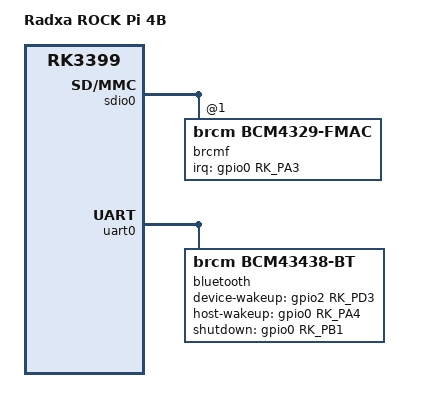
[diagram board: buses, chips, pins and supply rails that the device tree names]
// SPDX-License-Identifier: (GPL-2.0+ OR MIT)
/*
 * Copyright (c) 2019 Akash Gajjar <Akash_Gajjar@mentor.com>
 * Copyright (c) 2019 Pragnesh Patel <Pragnesh_Patel@mentor.com>
 */

/dts-v1/;
#include "rk3399-rock-pi-4.dtsi"

/ {
	model = "Radxa ROCK Pi 4B";
	compatible = "radxa,rockpi4b", "radxa,rockpi4", "rockchip,rk3399";

	aliases {
		mmc2 = &sdio0;
	};
};

&sdio0 {
	status = "okay";

	brcmf: wifi@1 {
		compatible = "brcm,bcm4329-fmac";
		reg = <1>;
		interrupt-parent = <&gpio0>;
		interrupts = <RK_PA3 GPIO_ACTIVE_HIGH>;
		interrupt-names = "host-wake";
		pinctrl-names = "default";
		pinctrl-0 = <&wifi_host_wake_l>;
	};
};

&uart0 {
	status = "okay";

	bluetooth {
		compatible = "brcm,bcm43438-bt";
		clocks = <&rk808 1>;
		clock-names = "ext_clock";
		device-wakeup-gpios = <&gpio2 RK_PD3 GPIO_ACTIVE_HIGH>;
		host-wakeup-gpios = <&gpio0 RK_PA4 GPIO_ACTIVE_HIGH>;
		shutdown-gpios = <&gpio0 RK_PB1 GPIO_ACTIVE_HIGH>;
		pinctrl-names = "default";
		pinctrl-0 = <&bt_host_wake_l &bt_wake_l &bt_enable_h>;
	};
};
